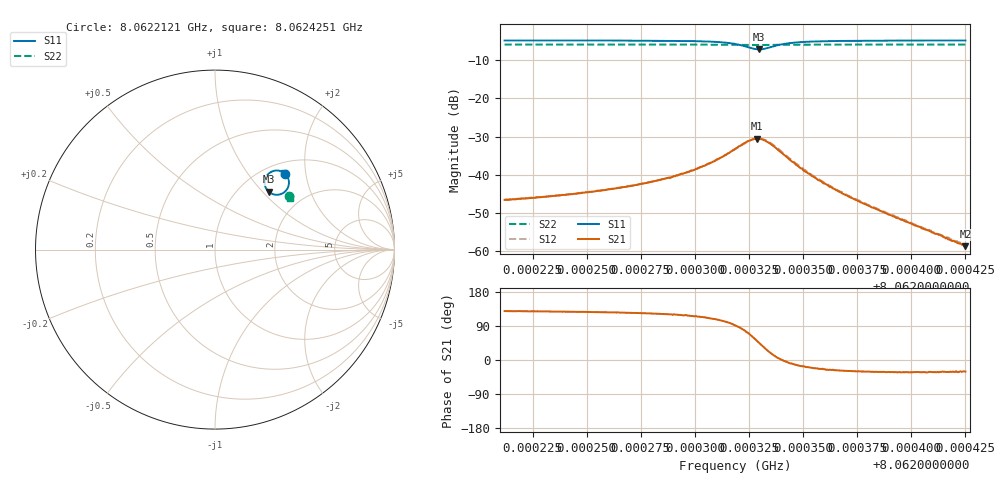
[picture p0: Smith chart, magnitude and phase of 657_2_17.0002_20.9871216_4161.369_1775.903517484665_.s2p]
#  HZ  S  RI  R  50.00
! Rohde & Schwarz Vector Network Analyzer
! Rohde-Schwarz,ZNB20-2Port,1311601062101988,3.16
! Created: UTC 3/20/2024, 11:21:36 PM
! freq[Hz]  re:S11  im:S11  re:S21  im:S21  re:S12  im:S12  re:S22  im:S22
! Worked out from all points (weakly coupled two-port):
!   401 points, 8.0622121 GHz to 8.0624251 GHz, reference 50 ohm
!   highest |S21| = -30.53 dB at 8.0623287 GHz (marker M1); lowest = -58.7 dB at 8.0624251 GHz (marker M2)
!   lowest |S11| = -7.1 dB at 8.0623298 GHz (marker M3), VSWR 2.57, Z = 67.6 + j54.2 ohm
!   |S11| at or under -10 dB: nowhere
!   |S22| runs from -6.0 to -5.9 dB; largest |S21 - S12| = 0.0012
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8.06221208e9  0.392 0.4218  -0.00296 0.00364  -0.00273 0.00384  0.411 0.2999
8.06223179e9  0.3948 0.4188  -0.00319 0.00407  -0.00297 0.0043  0.4118 0.2987
8.06224776e9  0.3974 0.4157  -0.00348 0.00461  -0.00322 0.00489  0.4124 0.2978
8.06226853e9  0.4016 0.4098  -0.00397 0.00575  -0.00364 0.00603  0.4131 0.2966
8.06228344e9  0.4055 0.4025  -0.0045 0.00723  -0.00408 0.00749  0.4137 0.2954
8.06228877e9  0.4071 0.3988  -0.00459 0.00788  -0.00421 0.0083  0.4139 0.295
8.06229995e9  0.4108 0.3866  -0.00496 0.0105  -0.00447 0.0109  0.4142 0.2939
8.06230847e9  0.412 0.3698  -0.00477 0.0141  -0.00395 0.0143  0.4143 0.2928
8.06231859e9  0.3982 0.332  -0.000689 0.0217  0.000269 0.0215  0.4135 0.2908
8.06232392e9  0.3638 0.3082  0.00758 0.0259  0.00797 0.0254  0.4121 0.2899
8.06232658e9  0.3347 0.306  0.0137 0.0255  0.0143 0.0252  0.411 0.2901
8.06232871e9  0.3097 0.3149  0.0188 0.023  0.0193 0.0227  0.4101 0.2906
8.06232977e9  0.2985 0.3232  0.0209 0.0208  0.0216 0.0207  0.4098 0.2911
8.06233244e9  0.2802 0.3514  0.0242 0.0143  0.025 0.014  0.4093 0.2924
8.0623351e9  0.2771 0.3811  0.024 0.00784  0.025 0.00738  0.4096 0.2936
8.06234255e9  0.305 0.428  0.017 -0.00147  0.0174 -0.00246  0.4117 0.2949
8.06234788e9  0.3247 0.4378  0.0125 -0.00325  0.0128 -0.004  0.4127 0.2949
8.06235427e9  0.341 0.4407  0.00899 -0.00338  0.00897 -0.00408  0.4137 0.2945
8.06236279e9  0.3544 0.44  0.00625 -0.00302  0.0062 -0.00347  0.4146 0.2939
8.06236918e9  0.3613 0.4385  0.00488 -0.00262  0.00483 -0.00301  0.415 0.2935
8.06238995e9  0.3738 0.4343  0.00256 -0.00157  0.0025 -0.00176  0.4162 0.292
8.0624251e9  0.3834 0.4288  0.001 -0.000589  0.000993 -0.000672  0.4176 0.2898
